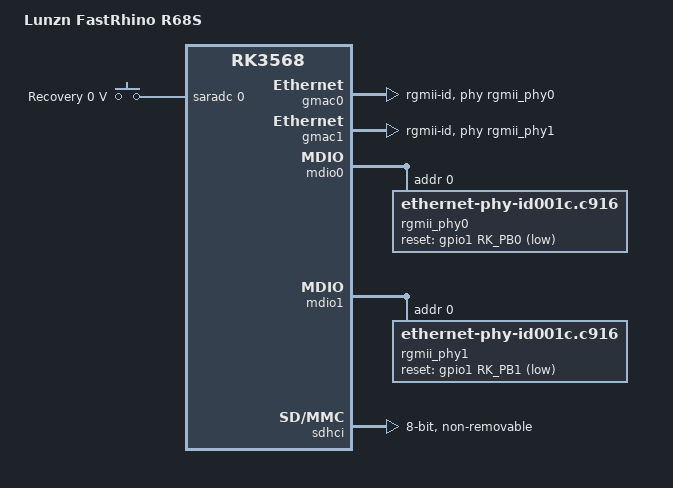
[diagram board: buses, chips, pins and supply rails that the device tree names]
// SPDX-License-Identifier: GPL-2.0-or-later OR MIT

#include "rk3568-fastrhino-r6xs.dtsi"

/ {
	model = "Lunzn FastRhino R68S";
	compatible = "lunzn,fastrhino-r68s", "rockchip,rk3568";

	aliases {
		ethernet0 = &gmac0;
		ethernet1 = &gmac1;
		ethernet2 = &rtl8125_1;
		ethernet3 = &rtl8125_2;
		mmc0 = &sdhci;
	};

	adc-keys {
		compatible = "adc-keys";
		io-channels = <&saradc 0>;
		io-channel-names = "buttons";
		keyup-threshold-microvolt = <1800000>;

		recovery {
			label = "Recovery";
			linux,code = <KEY_VENDOR>;
			press-threshold-microvolt = <9>;
		};
	};
};

&gmac0 {
	assigned-clocks = <&cru SCLK_GMAC0_RX_TX>, <&cru SCLK_GMAC0>;
	assigned-clock-parents = <&cru SCLK_GMAC0_RGMII_SPEED>;
	assigned-clock-rates = <0>, <125000000>;
	clock_in_out = "output";
	phy-handle = <&rgmii_phy0>;
	phy-mode = "rgmii-id";
	pinctrl-names = "default";
	pinctrl-0 = <&gmac0_miim
		     &gmac0_tx_bus2
		     &gmac0_rx_bus2
		     &gmac0_rgmii_clk
		     &gmac0_rgmii_bus>;
	tx_delay = <0x3c>;
	rx_delay = <0x2f>;
	status = "okay";
};

&gmac1 {
	assigned-clocks = <&cru SCLK_GMAC1_RX_TX>, <&cru SCLK_GMAC1>;
	assigned-clock-parents = <&cru SCLK_GMAC1_RGMII_SPEED>;
	assigned-clock-rates = <0>, <125000000>;
	clock_in_out = "output";
	phy-mode = "rgmii-id";
	pinctrl-names = "default";
	pinctrl-0 = <&gmac1m1_miim
		     &gmac1m1_tx_bus2
		     &gmac1m1_rx_bus2
		     &gmac1m1_rgmii_clk
		     &gmac1m1_rgmii_bus>;
	tx_delay = <0x4f>;
	rx_delay = <0x26>;
	phy-handle = <&rgmii_phy1>;
	status = "okay";
};

&mdio0 {
	rgmii_phy0: ethernet-phy@0 {
		compatible = "ethernet-phy-id001c.c916",
			     "ethernet-phy-ieee802.3-c22";
		reg = <0>;
		reset-assert-us = <10000>;
		reset-deassert-us = <50000>;
		reset-gpios = <&gpio1 RK_PB0 GPIO_ACTIVE_LOW>;
	};
};

&mdio1 {
	rgmii_phy1: ethernet-phy@0 {
		compatible = "ethernet-phy-id001c.c916",
			     "ethernet-phy-ieee802.3-c22";
		reg = <0>;
		reset-assert-us = <10000>;
		reset-deassert-us = <50000>;
		reset-gpios = <&gpio1 RK_PB1 GPIO_ACTIVE_LOW>;
	};
};

&sdhci {
	bus-width = <8>;
	max-frequency = <200000000>;
	non-removable;
	pinctrl-names = "default";
	pinctrl-0 = <&emmc_bus8 &emmc_clk &emmc_cmd &emmc_datastrobe>;
	status = "okay";
};
